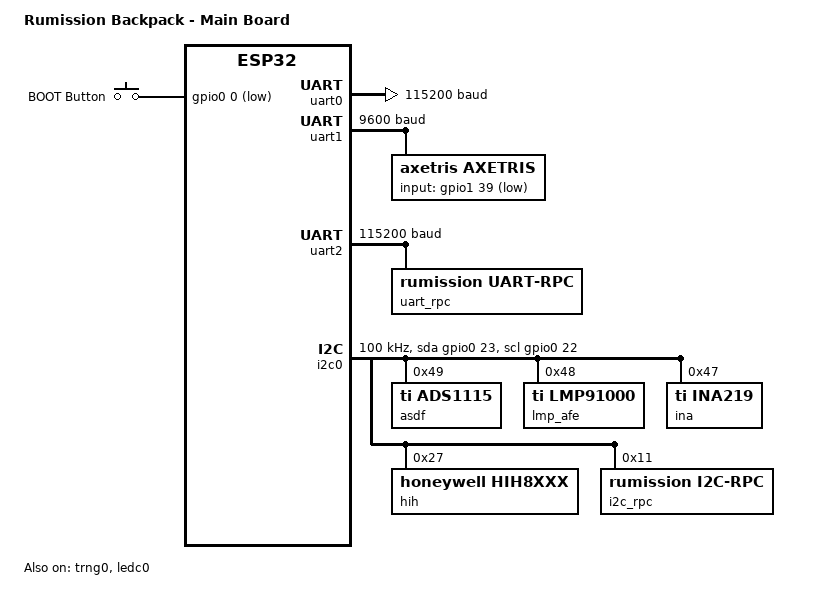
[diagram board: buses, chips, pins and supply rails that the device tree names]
/*
 * Copyright (c) 2023 Espressif Systems (Shanghai) Co., Ltd.
 *
 * SPDX-License-Identifier: Apache-2.0
 */
/dts-v1/;

#include <espressif/esp32/esp32_wrover_e_n8r8.dtsi>
#include "rumission_backpack_main-pinctrl.dtsi"
#include <zephyr/dt-bindings/input/input-event-codes.h>

/ {
	model = "Rumission Backpack - Main Board";
	compatible = "rumission,backpack-main-v1";

	aliases {
		uart-0 = &uart0;
		i2c-0 = &i2c0;
		sw0 = &button0;
		watchdog0 = &wdt0;
	};

	buttons {
		compatible = "gpio-keys";
		button0: button_0 {
			gpios = <&gpio0 0 (GPIO_PULL_UP | GPIO_ACTIVE_LOW)>;
			label = "BOOT Button";
			zephyr,code = <INPUT_KEY_0>;
		};
	};

	chosen {
		zephyr,sram = &sram0;
		zephyr,console = &uart0;
		zephyr,shell-uart = &uart0;
		zephyr,flash = &flash0;
		axetris,axetris = &uart1;
	};

	rpc: rpc {
		status = "okay";
		compatible = "rumission,rpc";
		
		bus_id = <0>;

		#address-cells = < 1 >;
		#size-cells = < 0 >;

		flow: rpc_target@3 {
			status = "okay";
			compatible = "rumission,flow-meter";
			reg = <3>;
			hw = <&i2c_rpc>;
		};

		pam: rpc_target@2 {
			status = "okay";
			compatible = "twobtech,pam";
			reg = <2>;
			hw = <&uart_rpc>;
		};
	};
};

&cpu0 {
	clock-frequency = <ESP32_CLK_CPU_240M>;
};

&cpu1 {
	clock-frequency = <ESP32_CLK_CPU_240M>;
};

&uart0 {
	status = "okay";
	current-speed = <115200>;
	pinctrl-0 = <&uart0_default>;
	pinctrl-names = "default";
};

&uart1 {
	status = "okay";
	current-speed = <9600>;
	pinctrl-0 = <&uart1_default>;
	pinctrl-names = "default";

	axetris: axetris {
		compatible = "axetris,axetris";
		input-gpios = <&gpio1 39 (GPIO_PULL_UP | GPIO_ACTIVE_LOW)>;
	};
};

&uart2 {
	status = "okay";
	current-speed = <115200>;
	pinctrl-0 = <&uart2_default>;
	pinctrl-names = "default";

	uart_rpc: uart_rpc {
		status = "okay";
		compatible = "rumission,uart-rpc";
		rpc = <&rpc>;
	};
};

&gpio0 {
	status = "okay";
};

&gpio1 {
	status = "okay";
};

&i2c0 {
	status = "okay";
	clock-frequency = <I2C_BITRATE_STANDARD>;
	sda-gpios = <&gpio0 23 GPIO_OPEN_DRAIN>;
	scl-gpios = <&gpio0 22 GPIO_OPEN_DRAIN>;
	pinctrl-0 = <&i2c0_default>;
	pinctrl-names = "default";

	asdf: ads1115@49 {
		status = "okay";
		compatible = "ti,ads1115";
		reg = < 0x49 >;
		#io-channel-cells = <1>;
	};

	lmp_afe: lmp91000@48 {
		status = "okay";
		compatible = "ti,lmp91000";
		reg = <0x48>;
	};

	ina: ina219@47 {
		status = "okay";
		compatible = "ti,ina219";
		reg = <0x47>;
		brng = < 0 >; 	// Bus Range Voltage = 16 V
		pg = < 0 >;		// Programmable Gain = 1; +- 40 mV (expecting 5 mV right now)
		sadc = < 13 >;	// 12 bit - 32 sample averaging -> 17.02 ms
		badc = < 13 >;	// 12 bit - 32 sample averaging -> 17.02 ms
		shunt-milliohm = < 50 >;
		lsb-microamp = < 3 >;	// 100 mA
	};

	hih: hih8xxx@27 {
		status = "okay";
		compatible = "honeywell,hih8xxx";
		reg = <0x27>;
	};

	i2c_rpc: i2c_rpc@11 {
		status = "okay";
		compatible = "rumission,i2c-rpc";
		reg = <0x11>;
		rpc = <&rpc>;
	};
};

// &i2c1 {
// 	status = "okay";
// 	clock-frequency = <I2C_BITRATE_STANDARD>;
// 	sda-gpios = <&gpio0 18 GPIO_OPEN_DRAIN>;
// 	scl-gpios = <&gpio0 19 GPIO_OPEN_DRAIN>;
// 	pinctrl-0 = <&i2c1_default>;
// 	pinctrl-names = "default";

// 	eeprom0: eeprom@54 {
// 		compatible = "zephyr,i2c-target-eeprom";
// 		reg = <0x54>;
// 		size = <1024>;
// 	};
// };

// &spi2 {
// 	#address-cells = <1>;
// 	#size-cells = <0>;
// 	status = "okay";
// 	pinctrl-0 = <&spim2_default>;
// 	pinctrl-names = "default";
// };

// &spi3 {
// 	#address-cells = <1>;
// 	#size-cells = <0>;
// 	status = "okay";
// 	pinctrl-0 = <&spim3_default>;
// 	pinctrl-names = "default";
// };

&timer0 {
	status = "disabled";
};

&timer1 {
	status = "disabled";
};

&timer2 {
	status = "disabled";
};

&timer3 {
	status = "disabled";
};

&trng0 {
	status = "okay";
};

&flash0 {
	status = "okay";
	partitions {
		compatible = "fixed-partitions";
		#address-cells = <1>;
		#size-cells = <1>;

		/* Reserve 60kB for the bootloader */
		boot_partition: partition@1000 {
			label = "mcuboot";
			reg = <0x00001000 0x0000F000>;
			read-only;
		};

		/* Reserve 1024kB for the application in slot 0 */
		slot0_partition: partition@10000 {
			label = "image-0";
			reg = <0x00010000 0x00100000>;
		};

		/* Reserve 1024kB for the application in slot 1 */
		slot1_partition: partition@110000 {
			label = "image-1";
			reg = <0x00110000 0x00100000>;
		};

		/* Reserve 256kB for the scratch partition */
		scratch_partition: partition@210000 {
			   label = "image-scratch";
			   reg = <0x00210000 0x00040000>;
		};

		storage_partition: partition@250000 {
			label = "storage";
			reg = <0x00250000 0x00006000>;
		};
	};
};

&ledc0 {
	status = "okay";
	pinctrl-0 = <&ledc0_default>;
	pinctrl-names = "default";

	#address-cells = <1>;
	#size-cells = <0>;

	channel@0 {
		reg = < 0 >;
		timer = < 0 >;
	};
};

